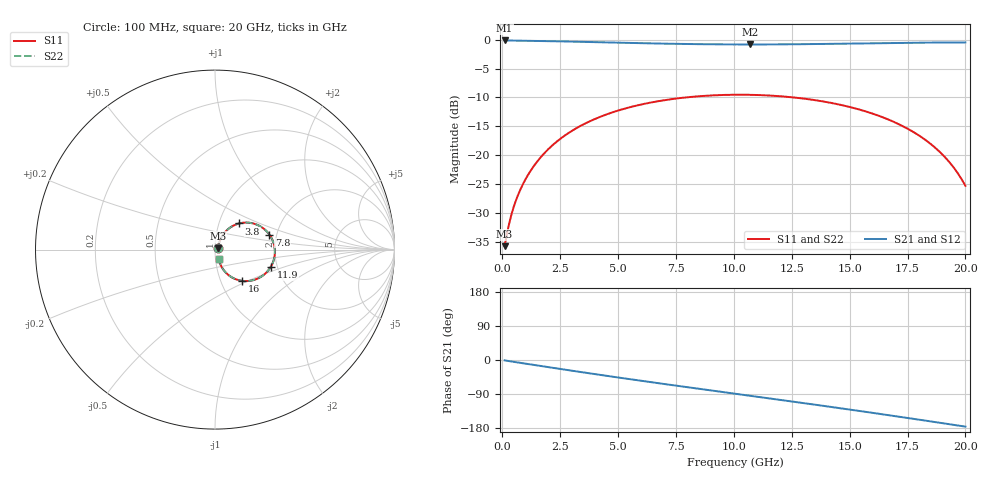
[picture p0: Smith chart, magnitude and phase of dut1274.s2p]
! Touchstone file exported from HFSS 2026.1.0
!  File:  C:/ffzhzh/LocalFiles/Ansys_Project_Files/temp_train_TSV_RDL_1274_1783329332_39728.aedt
!  Generated:  05:27:00 PM Jul  6, 2026
!  Design:  TSV_RDL
!  Project:  temp_train_TSV_RDL_1274_1783329332_39728
! Variables:
!  h_bsmrdl = 4.41um
!  h_ox = 20um
!  h_rdl = 5um
!  h_sub = 68.8um
!  h_tmrdl = 2.81um
!  h_tsv = 68.8um
!  h_via = 3um
!  l_bsmrdl = 308.29um
!  l_sub = 2991.27um
!  l_tmrdl = 383.78um
!  m_sub = 200um
!  pitch = 34.49um
!  r_tsv = 5.21um
!  s_tmrdl = 10um
!  w_bsmrdl = 17.72um
!  w_sub = 500um
!  w_tmrdl = 26.04um
!  x_tsv_center1 = 396.8um
!  x_tsv_center2 = 722.81um
!  x_tsv_center3 = 1132.63um
!  x_tsv_center4 = 1458.64um
!  x_tsv_center5 = 1868.46um
!  x_tsv_center6 = 2194.47um
# GHz S MA R 50.000000
! Terminal data exported
! Port[1] = TM_RDL1_1_T1
! Port[2] = TM_RDL5_1_T1
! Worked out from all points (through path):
!   200 points, 100 MHz to 20 GHz, reference 50 ohm
!   highest |S21| = -0.13 dB at 100 MHz (marker M1); lowest = -0.8 dB at 10.7 GHz (marker M2)
!   group delay of S21, straight-line fit = 24 ps
!   lowest |S11| = -35.7 dB at 100 MHz (marker M3), VSWR 1.03, Z = 51.5 + j0.701 ohm
!   |S11| at or under -10 dB: start of sweep to 7.9 GHz; 12.61 GHz to end of sweep
!   |S22| runs from -35.7 to -9.5 dB; largest |S21 - S12| = 3.5e-14
!   S11 on the Smith chart (normalised r, x): 100 MHz: 1.03, +0.01; 3.8 GHz: 1.25, +0.38; 7.8 GHz: 1.83, +0.34; 11.9 GHz: 1.85, -0.40; 16 GHz: 1.26, -0.46; 20 GHz: 1.04, -0.10
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0.1  0.01636 24.6  0.9852 -1.0  0.9852 -1.0  0.01636 24.6
! Gamma 0 0 0 0
! Port Impedance 50 0 50 0
0.3  0.02584 47.4  0.9833 -3.0  0.9833 -3.0  0.02584 47.4
0.5  0.03614 55.2  0.9816 -4.9  0.9816 -4.9  0.03614 55.2
0.8  0.0515 60.2  0.9796 -7.8  0.9796 -7.8  0.0515 60.2
1.2  0.07227 62.2  0.9773 -11.5  0.9773 -11.5  0.07227 62.2
1.7  0.09829 61.3  0.9741 -16.2  0.9741 -16.2  0.09829 61.3
2.2  0.1238 58.9  0.9703 -20.9  0.9703 -20.9  0.1238 58.9
3.5  0.185 49.7  0.9582 -32.8  0.9582 -32.8  0.185 49.7
3.8  0.1978 47.4  0.9551 -35.5  0.9551 -35.5  0.1978 47.4
5.3  0.2538 35.4  0.9398 -48.8  0.9398 -48.8  0.2538 35.4
6.8  0.2953 23.3  0.9261 -61.7  0.9261 -61.7  0.2953 23.3
7.8  0.3147 15.3  0.9188 -70.2  0.9188 -70.2  0.3147 15.3
10.1  0.3342 -2.9  0.91 -89.3  0.91 -89.3  0.3342 -2.9
10.7  0.3336 -7.6  0.9096 -94.3  0.9096 -94.3  0.3336 -7.7
11.9  0.3254 -17.1  0.9111 -104.3  0.9111 -104.3  0.3254 -17.1
13.4  0.3022 -28.9  0.9166 -117.0  0.9166 -117.0  0.3022 -28.9
16  0.2291 -49.4  0.9316 -139.5  0.9316 -139.5  0.2291 -49.4
16.7  0.2029 -54.7  0.9358 -145.7  0.9358 -145.7  0.2029 -54.7
17.8  0.157 -62.6  0.9415 -155.6  0.9415 -155.6  0.157 -62.6
18.7  0.1161 -67.9  0.9449 -163.8  0.9449 -163.8  0.1161 -67.9
19.4  0.08288 -70.1  0.9465 -170.3  0.9465 -170.3  0.08287 -70.1
20  0.05438 -67.8  0.9471 -175.8  0.9471 -175.8  0.05437 -67.9
